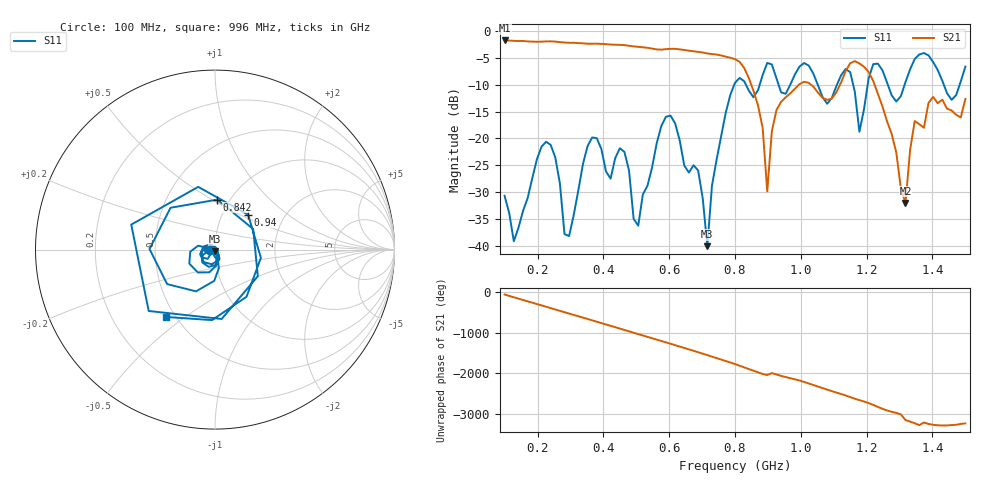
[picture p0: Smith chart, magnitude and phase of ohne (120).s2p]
! NanoVNA-App
! Date: 2025-09-25 14:21:44
! Start: 100MHz Stop: 1,5GHz Points: 101
! S-Parameter data: F S11 S21 S12 S22
# Hz S RI R 50
!  Frequency  S11_Real  S11_Imag  S21_Real  S21_Imag  S12_Real  S12_Imag  S22_Real  S22_Imag
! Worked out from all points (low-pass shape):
!   101 points, 100 MHz to 1.5 GHz, reference 50 ohm
!   highest |S21| = -1.79 dB at 100 MHz (marker M1); lowest = -32.0 dB at 1.318 GHz (marker M2)
!   |S21| within 3 dB of the highest: start of sweep to 771.2 MHz
!   lowest |S11| = -40.0 dB at 716 MHz (marker M3), VSWR 1.02, Z = 49.8 - j0.967 ohm
!   |S11| at or under -10 dB: start of sweep to 797.9 MHz; 833.1 MHz to 875.1 MHz (42 MHz wide, 4.92 % of centre); 1.051 GHz to 1.11 GHz (58.47 MHz wide, 5.41 % of centre) (the widest 3 of 7)
!   S12 and S22 are empty: the file has one direction only
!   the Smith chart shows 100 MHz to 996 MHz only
!   S11 on the Smith chart (normalised r, x): 100 MHz: 0.94, -0.01; 842 MHz: 0.88, +0.53; 940 MHz: 1.32, +0.55; 996 MHz: 0.44, -0.42
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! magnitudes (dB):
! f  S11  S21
! 100 MHz  -30.6  -1.8
! 128 MHz  -39.1  -1.9
! 226 MHz  -20.6  -2.0
! 296 MHz  -38.1  -2.2
! 338 MHz  -24.7  -2.3
! 464 MHz  -22.5  -2.7
! 506 MHz  -36.2  -3.0
! 576 MHz  -17.7  -3.5
! 688 MHz  -25.9  -3.9
! 716 MHz  -40.0  -4.2
! 800 MHz  -9.7  -5.3
! 842 MHz  -11.1  -8.8
! 898 MHz  -6.0  -29.8
! 940 MHz  -11.4  -13.2
! 996 MHz  -6.6  -9.9
! 1.038 GHz  -7.9  -10.4
! 1.178 GHz  -18.7  -6.1
! 1.22 GHz  -6.2  -9.3
! 1.276 GHz  -12.0  -19.1
! 1.318 GHz  -9.5  -32.0
! 1.346 GHz  -5.2  -16.8
! 1.5 GHz  -6.7  -12.7
